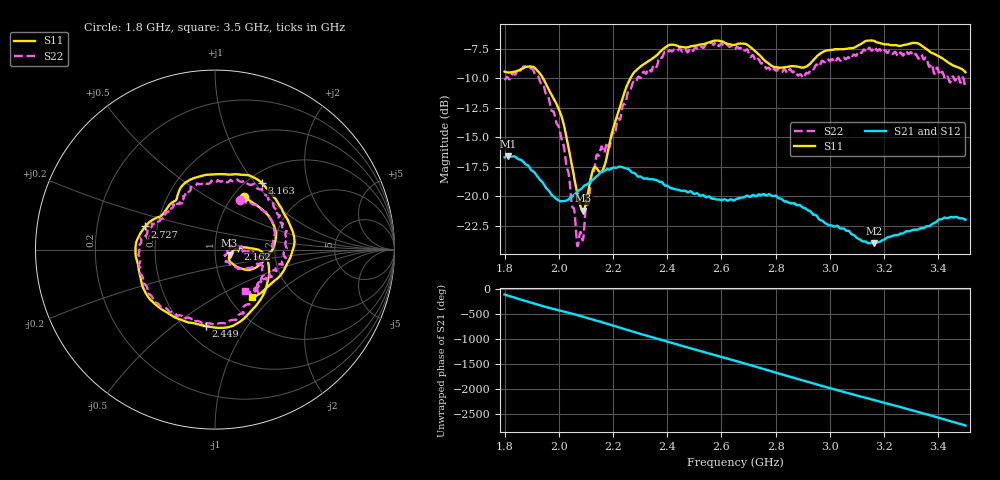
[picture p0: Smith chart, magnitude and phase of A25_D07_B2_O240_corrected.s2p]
! Created with skrf 1.9.0 (http://scikit-rf.org).
# Hz S RI R 50.0
!freq ReS11 ImS11 ReS21 ImS21 ReS12 ImS12 ReS22 ImS22
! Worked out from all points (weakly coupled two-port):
!   1601 points, 1.8 GHz to 3.5 GHz, reference 50 ohm
!   highest |S21| = -16.59 dB at 1.812 GHz (marker M1); lowest = -24.0 dB at 3.162 GHz (marker M2)
!   lowest |S11| = -21.2 dB at 2.09 GHz (marker M3), VSWR 1.19, Z = 58.7 - j3.71 ohm
!   |S11| at or under -10 dB: 1.942 GHz to 2.264 GHz (322.4 MHz wide, 15.3 % of centre)
!   |S22| runs from -24.2 to -6.9 dB; largest |S21 - S12| = 0.0027
!   S11 on the Smith chart (normalised r, x): 1.8 GHz: 1.12, +0.75; 2.162 GHz: 1.30, +0.02; 2.449 GHz: 0.64, -0.67; 2.727 GHz: 0.43, +0.13; 3.163 GHz: 1.16, +1.09; 3.5 GHz: 1.27, -0.75
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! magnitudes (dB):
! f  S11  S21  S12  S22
! 1.8 GHz  -9.4  -16.7  -16.7  -10.2
! 1.812 GHz  -9.5  -16.6  -16.6  -9.9
! 1.882 GHz  -9.0  -17.3  -17.4  -9.0
! 1.942 GHz  -10.0  -18.9  -18.9  -10.5
! 2.013 GHz  -13.4  -20.4  -20.4  -15.3
! 2.067 GHz  -19.6  -19.6  -19.6  -23.9
! 2.084 GHz  -21.1  -19.3  -19.3  -23.3
! 2.09 GHz  -21.2  -19.2  -19.2  -23.6
! 2.127 GHz  -17.7  -18.6  -18.6  -18.0
! 2.162 GHz  -17.8  -17.9  -17.9  -16.0
! 2.26 GHz  -10.2  -17.8  -17.8  -11.0
! 2.367 GHz  -7.9  -18.7  -18.7  -8.5
! 2.449 GHz  -7.4  -19.5  -19.5  -7.5
! 2.65 GHz  -7.2  -20.3  -20.3  -7.5
! 2.727 GHz  -7.8  -20.0  -20.0  -8.5
! 2.8 GHz  -9.1  -20.0  -20.0  -9.3
! 2.934 GHz  -8.6  -21.4  -21.4  -9.2
! 3.162 GHz  -6.8  -24.0  -23.9  -7.4
! 3.163 GHz  -6.8  -24.0  -24.0  -7.4
! 3.217 GHz  -7.2  -23.4  -23.4  -7.7
! 3.325 GHz  -7.1  -22.8  -22.8  -8.3
! 3.5 GHz  -9.5  -22.0  -22.0  -10.8
